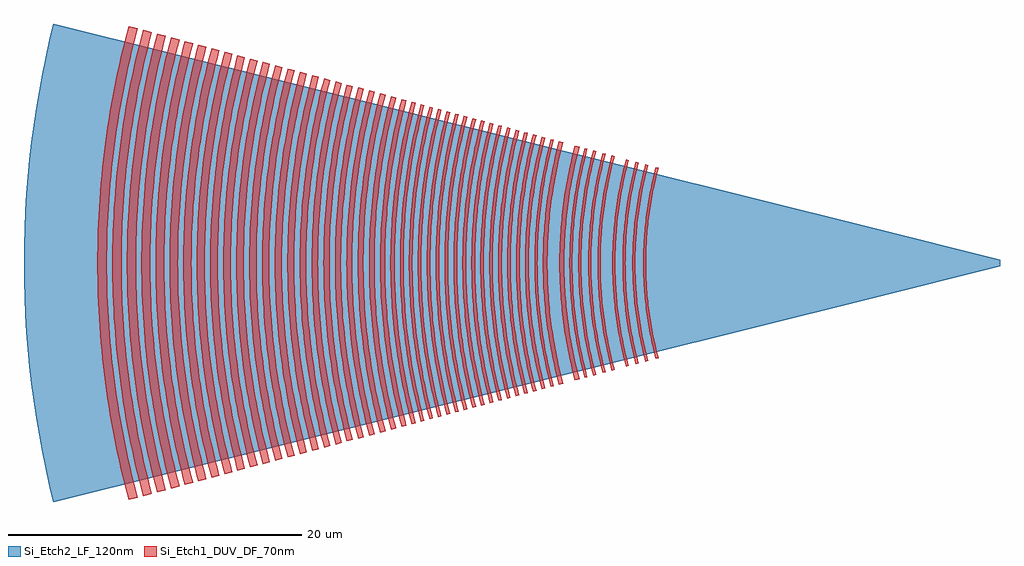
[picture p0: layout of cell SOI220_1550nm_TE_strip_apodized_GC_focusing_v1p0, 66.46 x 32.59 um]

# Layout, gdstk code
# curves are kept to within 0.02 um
import gdstk
lib = gdstk.Library(unit=1e-6, precision=1e-09)
def P(c, l, *ps):  # polygons
    for p in ps: c.add(gdstk.Polygon(p, *l))
Si_Etch2_LF_120nm = (3, 0)
Si_Etch1_DUV_DF_70nm = (6, 0)

soi220_1550nm_te_strip_a = lib.new_cell('SOI220_1550nm_TE_strip_apodized_GC_focusing_v1p0')
P(soi220_1550nm_te_strip_a, Si_Etch2_LF_120nm, [(-64.455,-16.295),(-64.984,-14.005),(-65.433,-11.697),(-65.627,-10.537),(-65.954,-8.209),(-66.2,-5.871),(-66.364,-3.525),(-66.446,-1.176),(-66.456,0),(-66.446,1.176),(-66.364,3.525),(-66.2,5.871),(-65.954,8.209),(-65.627,10.537),(-65.433,11.697),(-64.984,14.005),(-64.455,16.295),(0,0.225),(0,-0.225)])
P(soi220_1550nm_te_strip_a, Si_Etch1_DUV_DF_70nm, [(-23.439,-6.522),(-23.835,-4.808),(-24.111,-3.071),(-24.251,-1.538),(-24.298,0),(-24.251,1.538),(-24.111,3.071),(-23.835,4.808),(-23.439,6.522),(-23.246,6.47),(-23.639,4.77),(-23.884,3.263),(-24.037,1.744),(-24.098,0),(-24.037,-1.744),(-23.884,-3.263),(-23.639,-4.77),(-23.246,-6.47)],
  [(-24.145,-6.711),(-24.508,-5.17),(-24.807,-3.385),(-24.981,-1.583),(-25.029,0),(-24.981,1.583),(-24.807,3.385),(-24.508,5.17),(-24.145,6.711),(-23.952,6.66),(-24.356,4.91),(-24.609,3.359),(-24.781,1.571),(-24.829,0),(-24.781,-1.571),(-24.609,-3.359),(-24.356,-4.91),(-23.952,-6.66)],
  [(-24.793,-6.884),(-25.166,-5.304),(-25.472,-3.472),(-25.636,-1.856),(-25.7,0),(-25.636,1.856),(-25.472,3.472),(-25.166,5.304),(-24.793,6.884),(-24.6,6.833),(-25.015,5.038),(-25.274,3.446),(-25.436,1.842),(-25.5,0),(-25.436,-1.842),(-25.274,-3.446),(-25.015,-5.038),(-24.6,-6.833)],
  [(-25.465,-7.064),(-25.847,-5.442),(-26.161,-3.563),(-26.329,-1.904),(-26.395,0),(-26.329,1.904),(-26.161,3.563),(-25.847,5.442),(-25.465,7.064),(-25.272,7.013),(-25.651,5.402),(-25.963,3.537),(-26.129,1.89),(-26.195,0),(-26.129,-1.89),(-25.963,-3.537),(-25.651,-5.402),(-25.272,-7.013)],
  [(-26.431,-7.323),(-26.827,-5.642),(-27.153,-3.693),(-27.343,-1.727),(-27.395,0),(-27.343,1.727),(-27.153,3.693),(-26.827,5.642),(-26.431,7.323),(-26.238,7.272),(-26.679,5.361),(-26.955,3.667),(-27.127,1.96),(-27.195,0),(-27.127,-1.96),(-26.955,-3.667),(-26.679,-5.361),(-26.238,-7.272)],
  [(-27.047,-7.488),(-27.452,-5.769),(-27.785,-3.777),(-27.963,-2.018),(-28.033,0),(-27.963,2.018),(-27.785,3.777),(-27.452,5.769),(-27.047,7.488),(-26.854,7.437),(-27.305,5.483),(-27.587,3.751),(-27.763,2.004),(-27.833,0),(-27.763,-2.004),(-27.587,-3.751),(-27.305,-5.483),(-26.854,-7.437)],
  [(-27.7,-7.663),(-28.115,-5.904),(-28.455,-3.865),(-28.637,-2.066),(-28.709,0),(-28.637,2.066),(-28.455,3.865),(-28.115,5.904),(-27.7,7.663),(-27.507,7.612),(-27.919,5.864),(-28.257,3.839),(-28.454,1.795),(-28.509,0),(-28.454,-1.795),(-28.257,-3.839),(-27.919,-5.864),(-27.507,-7.612)],
  [(-28.285,-7.82),(-28.76,-5.766),(-29.056,-3.944),(-29.242,-2.108),(-29.315,0),(-29.242,2.108),(-29.056,3.944),(-28.76,5.766),(-28.285,7.82),(-28.092,7.769),(-28.564,5.728),(-28.858,3.918),(-29.042,2.094),(-29.115,0),(-29.042,-2.094),(-28.858,-3.918),(-28.564,-5.728),(-28.092,-7.769)],
  [(-28.947,-7.996),(-29.379,-6.161),(-29.7,-4.3),(-29.925,-2.155),(-30,0),(-29.925,2.155),(-29.7,4.3),(-29.379,6.161),(-28.947,7.996),(-28.623,7.911),(-29.051,6.094),(-29.403,3.99),(-29.591,2.132),(-29.665,0),(-29.591,-2.132),(-29.403,-3.99),(-29.051,-6.094),(-28.623,-7.911)],
  [(-30.036,-8.289),(-30.484,-6.385),(-30.853,-4.181),(-31.049,-2.234),(-31.108,-1.118),(-31.127,0),(-31.108,1.118),(-31.049,2.234),(-30.853,4.181),(-30.484,6.385),(-30.036,8.289),(-29.734,8.209),(-30.232,6.052),(-30.544,4.14),(-30.738,2.212),(-30.815,0),(-30.738,-2.212),(-30.544,-4.14),(-30.232,-6.052),(-29.734,-8.209)],
  [(-30.581,-8.435),(-31.038,-6.498),(-31.245,-5.38),(-31.413,-4.254),(-31.632,-1.99),(-31.692,0),(-31.632,1.99),(-31.413,4.254),(-31.245,5.38),(-31.038,6.498),(-30.581,8.435),(-30.388,8.384),(-30.842,6.458),(-31.048,5.347),(-31.215,4.228),(-31.432,1.978),(-31.492,0),(-31.432,-1.978),(-31.215,-4.228),(-31.048,-5.347),(-30.842,-6.458),(-30.388,-8.384)],
  [(-31.206,-8.602),(-31.671,-6.627),(-31.883,-5.486),(-32.054,-4.339),(-32.185,-3.186),(-32.276,-2.029),(-32.338,0),(-32.276,2.029),(-32.185,3.186),(-32.054,4.339),(-31.883,5.486),(-31.671,6.627),(-31.206,8.602),(-30.96,8.537),(-31.422,6.576),(-31.632,5.444),(-31.802,4.306),(-32.004,2.301),(-32.064,1.151),(-32.084,0),(-32.064,-1.151),(-32.004,-2.301),(-31.802,-4.306),(-31.632,-5.444),(-31.422,-6.576),(-30.96,-8.537)],
  [(-31.796,-8.761),(-32.082,-7.614),(-32.327,-6.459),(-32.66,-4.418),(-32.793,-3.244),(-32.886,-2.067),(-32.949,0),(-32.886,2.067),(-32.793,3.244),(-32.66,4.418),(-32.327,6.459),(-32.082,7.614),(-31.796,8.761),(-31.558,8.698),(-31.842,7.559),(-32.086,6.412),(-32.416,4.386),(-32.621,2.344),(-32.683,1.173),(-32.703,0),(-32.683,-1.173),(-32.621,-2.344),(-32.416,-4.386),(-32.086,-6.412),(-31.842,-7.559),(-31.558,-8.698)],
  [(-32.378,-8.917),(-32.669,-7.75),(-32.919,-6.574),(-33.257,-4.497),(-33.393,-3.302),(-33.488,-2.103),(-33.552,0),(-33.488,2.103),(-33.393,3.302),(-33.257,4.497),(-32.919,6.574),(-32.669,7.75),(-32.378,8.917),(-32.155,8.858),(-32.634,6.823),(-32.852,5.648),(-33.028,4.467),(-33.238,2.387),(-33.3,1.194),(-33.321,0),(-33.3,-1.194),(-33.238,-2.387),(-33.028,-4.467),(-32.852,-5.648),(-32.634,-6.823),(-32.155,-8.858)],
  [(-32.975,-9.077),(-33.466,-6.992),(-33.689,-5.788),(-33.87,-4.578),(-34.009,-3.362),(-34.105,-2.141),(-34.17,0),(-34.105,2.141),(-34.009,3.362),(-33.87,4.578),(-33.689,5.788),(-33.466,6.992),(-32.975,9.077),(-32.733,9.013),(-33.221,6.942),(-33.442,5.747),(-33.622,4.545),(-33.76,3.338),(-33.855,2.126),(-33.92,0),(-33.855,-2.126),(-33.76,-3.338),(-33.622,-4.545),(-33.442,-5.747),(-33.221,-6.942),(-32.733,-9.013)],
  [(-33.555,-9.232),(-33.856,-8.025),(-34.115,-6.806),(-34.465,-4.657),(-34.606,-3.419),(-34.704,-2.178),(-34.77,0),(-34.704,2.178),(-34.606,3.419),(-34.465,4.657),(-34.115,6.806),(-33.856,8.025),(-33.555,9.232),(-33.336,9.174),(-33.636,7.974),(-33.893,6.763),(-34.241,4.627),(-34.458,2.473),(-34.522,1.237),(-34.544,0),(-34.522,-1.237),(-34.458,-2.473),(-34.241,-4.627),(-33.893,-6.763),(-33.636,-7.974),(-33.336,-9.174)],
  [(-34.143,-9.389),(-34.449,-8.161),(-34.713,-6.923),(-35.069,-4.735),(-35.212,-3.477),(-35.312,-2.215),(-35.379,0),(-35.312,2.215),(-35.212,3.477),(-35.069,4.735),(-34.713,6.923),(-34.449,8.161),(-34.143,9.389),(-33.92,9.33),(-34.224,8.109),(-34.486,6.879),(-34.84,4.705),(-34.982,3.455),(-35.081,2.201),(-35.148,0),(-35.081,-2.201),(-34.982,-3.455),(-34.84,-4.705),(-34.486,-6.879),(-34.224,-8.109),(-33.92,-9.33)],
  [(-34.733,-9.548),(-35.045,-8.299),(-35.313,-7.04),(-35.674,-4.815),(-35.82,-3.536),(-35.922,-2.252),(-35.99,0),(-35.922,2.252),(-35.82,3.536),(-35.674,4.815),(-35.313,7.04),(-35.045,8.299),(-34.733,9.548),(-34.496,9.485),(-34.806,8.244),(-35.072,6.993),(-35.431,4.783),(-35.576,3.512),(-35.677,2.237),(-35.745,0),(-35.677,-2.237),(-35.576,-3.512),(-35.431,-4.783),(-35.072,-6.993),(-34.806,-8.244),(-34.496,-9.485)],
  [(-35.324,-9.706),(-35.849,-7.477),(-36.088,-6.189),(-36.281,-4.895),(-36.429,-3.594),(-36.533,-2.29),(-36.602,0),(-36.533,2.29),(-36.429,3.594),(-36.281,4.895),(-36.088,6.189),(-35.849,7.477),(-35.324,9.706),(-35.086,9.643),(-35.608,7.428),(-35.845,6.149),(-36.037,4.863),(-36.184,3.571),(-36.287,2.275),(-36.356,0),(-36.287,-2.275),(-36.184,-3.571),(-36.037,-4.863),(-35.845,-6.149),(-35.608,-7.428),(-35.086,-9.643)],
  [(-35.913,-9.863),(-36.234,-8.574),(-36.511,-7.273),(-36.885,-4.975),(-37.036,-3.653),(-37.14,-2.327),(-37.211,0),(-37.14,2.327),(-37.036,3.653),(-36.885,4.975),(-36.511,7.273),(-36.234,8.574),(-35.913,9.863),(-35.677,9.801),(-36.207,7.55),(-36.448,6.25),(-36.643,4.943),(-36.875,2.642),(-36.944,1.322),(-36.967,0),(-36.944,-1.322),(-36.875,-2.642),(-36.643,-4.943),(-36.448,-6.25),(-36.207,-7.55),(-35.677,-9.801)],
  [(-36.499,-10.02),(-37.041,-7.72),(-37.287,-6.391),(-37.487,-5.054),(-37.64,-3.711),(-37.746,-2.364),(-37.818,0),(-37.746,2.364),(-37.64,3.711),(-37.487,5.054),(-37.287,6.391),(-37.041,7.72),(-36.499,10.02),(-36.267,9.959),(-36.806,7.672),(-37.05,6.351),(-37.249,5.023),(-37.401,3.688),(-37.506,2.349),(-37.578,0),(-37.506,-2.349),(-37.401,-3.688),(-37.249,-5.023),(-37.05,-6.351),(-36.806,-7.672),(-36.267,-9.959)],
  [(-37.081,-10.176),(-37.413,-8.846),(-37.699,-7.503),(-38.085,-5.133),(-38.24,-3.768),(-38.348,-2.4),(-38.421,0),(-38.348,2.4),(-38.24,3.768),(-38.085,5.133),(-37.699,7.503),(-37.413,8.846),(-37.081,10.176),(-36.853,10.116),(-37.183,8.793),(-37.467,7.458),(-37.851,5.102),(-38.09,2.727),(-38.161,1.364),(-38.185,0),(-38.161,-1.364),(-38.09,-2.727),(-37.851,-5.102),(-37.467,-7.458),(-37.183,-8.793),(-36.853,-10.116)],
  [(-37.668,-10.334),(-38.006,-8.983),(-38.296,-7.619),(-38.687,-5.212),(-38.845,-3.827),(-38.955,-2.438),(-39.029,0),(-38.955,2.438),(-38.845,3.827),(-38.687,5.212),(-38.296,7.619),(-38.006,8.983),(-37.668,10.334),(-37.438,10.273),(-37.774,8.929),(-38.062,7.574),(-38.451,5.181),(-38.608,3.804),(-38.717,2.423),(-38.791,0),(-38.717,-2.423),(-38.608,-3.804),(-38.451,-5.181),(-38.062,-7.574),(-37.774,-8.929),(-37.438,-10.273)],
  [(-38.255,-10.492),(-38.823,-8.082),(-39.081,-6.691),(-39.29,-5.292),(-39.45,-3.886),(-39.562,-2.475),(-39.637,0),(-39.562,2.475),(-39.45,3.886),(-39.29,5.292),(-39.081,6.691),(-38.823,8.082),(-38.255,10.492),(-38.037,10.434),(-38.378,9.068),(-38.736,7.346),(-38.968,5.959),(-39.152,4.564),(-39.356,2.11),(-39.411,0),(-39.356,-2.11),(-39.152,-4.564),(-38.968,-5.959),(-38.736,-7.346),(-38.378,-9.068),(-38.037,-10.434)],
  [(-38.844,-10.649),(-39.42,-8.204),(-39.682,-6.791),(-39.894,-5.371),(-40.057,-3.944),(-40.17,-2.512),(-40.246,0),(-40.17,2.512),(-40.057,3.944),(-39.894,5.371),(-39.682,6.791),(-39.42,8.204),(-38.844,10.649),(-38.612,10.588),(-38.958,9.202),(-39.321,7.455),(-39.557,6.047),(-39.782,4.276),(-39.95,2.141),(-40.006,0),(-39.95,-2.141),(-39.782,-4.276),(-39.557,-6.047),(-39.321,-7.455),(-38.958,-9.202),(-38.612,-10.588)],
  [(-39.425,-10.805),(-40.01,-8.323),(-40.276,-6.891),(-40.491,-5.45),(-40.656,-4.002),(-40.771,-2.548),(-40.848,0),(-40.771,2.548),(-40.656,4.002),(-40.491,5.45),(-40.276,6.891),(-40.01,8.323),(-39.425,10.805),(-39.196,10.744),(-39.627,8.985),(-39.916,7.565),(-40.155,6.136),(-40.384,4.339),(-40.554,2.173),(-40.611,0),(-40.554,-2.173),(-40.384,-4.339),(-40.155,-6.136),(-39.916,-7.565),(-39.627,-8.985),(-39.196,-10.744)],
  [(-40.059,-10.974),(-40.418,-9.54),(-40.653,-8.454),(-40.922,-6.999),(-41.142,-5.535),(-41.4,-2.958),(-41.478,-1.48),(-41.504,0),(-41.478,1.48),(-41.4,2.958),(-41.142,5.535),(-40.922,6.999),(-40.653,8.454),(-40.418,9.54),(-40.059,10.974),(-39.778,10.9),(-40.368,8.396),(-40.635,6.951),(-40.853,5.497),(-41.11,2.938),(-41.187,1.47),(-41.213,0),(-41.187,-1.47),(-41.11,-2.938),(-40.853,-5.497),(-40.635,-6.951),(-40.368,-8.396),(-39.778,-10.9)],
  [(-40.739,-11.156),(-41.102,-9.697),(-41.415,-8.226),(-41.838,-5.627),(-42.102,-3.008),(-42.181,-1.505),(-42.207,0),(-42.181,1.505),(-42.102,3.008),(-41.838,5.627),(-41.415,8.226),(-41.102,9.697),(-40.739,11.156),(-40.412,11.07),(-40.773,9.621),(-41.083,8.161),(-41.503,5.583),(-41.765,2.984),(-41.843,1.493),(-41.869,0),(-41.843,-1.493),(-41.765,-2.984),(-41.503,-5.583),(-41.083,-8.161),(-40.773,-9.621),(-40.412,-11.07)],
  [(-41.465,-11.351),(-42.079,-8.745),(-42.358,-7.239),(-42.584,-5.725),(-42.719,-4.585),(-42.852,-3.06),(-42.933,-1.531),(-42.959,0),(-42.933,1.531),(-42.852,3.06),(-42.719,4.585),(-42.584,5.725),(-42.358,7.239),(-42.079,8.745),(-41.465,11.351),(-41.107,11.256),(-41.716,8.671),(-41.993,7.178),(-42.217,5.677),(-42.389,4.168),(-42.508,2.655),(-42.563,1.518),(-42.589,0),(-42.563,-1.518),(-42.508,-2.655),(-42.389,-4.168),(-42.217,-5.677),(-41.993,-7.178),(-41.716,-8.671),(-41.107,-11.256)],
  [(-42.203,-11.549),(-42.491,-10.417),(-42.828,-8.897),(-43.112,-7.365),(-43.342,-5.825),(-43.48,-4.664),(-43.615,-3.113),(-43.697,-1.557),(-43.724,0),(-43.697,1.557),(-43.615,3.113),(-43.48,4.664),(-43.342,5.825),(-43.112,7.365),(-42.828,8.897),(-42.491,10.417),(-42.203,11.549),(-41.838,11.452),(-42.212,9.954),(-42.458,8.822),(-42.739,7.303),(-42.967,5.776),(-43.104,4.625),(-43.238,3.087),(-43.319,1.544),(-43.346,0),(-43.319,-1.544),(-43.238,-3.087),(-43.104,-4.625),(-42.967,-5.776),(-42.739,-7.303),(-42.458,-8.822),(-42.212,-9.954),(-41.838,-11.452)],
  [(-42.95,-11.748),(-43.333,-10.213),(-43.663,-8.662),(-43.875,-7.493),(-44.109,-5.926),(-44.288,-4.352),(-44.412,-2.772),(-44.47,-1.585),(-44.497,0),(-44.47,1.585),(-44.412,2.772),(-44.288,4.352),(-44.109,5.926),(-43.875,7.493),(-43.663,8.662),(-43.333,10.213),(-42.95,11.748),(-42.574,11.649),(-42.954,10.125),(-43.281,8.588),(-43.491,7.429),(-43.723,5.875),(-43.901,4.314),(-44.024,2.748),(-44.081,1.571),(-44.108,0),(-44.081,-1.571),(-44.024,-2.748),(-43.901,-4.314),(-43.723,-5.875),(-43.491,-7.429),(-43.281,-8.588),(-42.954,-10.125),(-42.574,-11.649)],
  [(-43.703,-11.95),(-44.093,-10.388),(-44.428,-8.811),(-44.643,-7.621),(-44.881,-6.027),(-45.063,-4.426),(-45.19,-2.819),(-45.248,-1.612),(-45.276,0),(-45.248,1.612),(-45.19,2.819),(-45.063,4.426),(-44.881,6.027),(-44.643,7.621),(-44.428,8.811),(-44.093,10.388),(-43.703,11.95),(-43.317,11.848),(-43.704,10.298),(-44.036,8.735),(-44.249,7.556),(-44.485,5.975),(-44.666,4.388),(-44.792,2.795),(-44.849,1.598),(-44.877,0),(-44.849,-1.598),(-44.792,-2.795),(-44.666,-4.388),(-44.485,-5.975),(-44.249,-7.556),(-44.036,-8.735),(-43.704,-10.298),(-43.317,-11.848)],
  [(-44.464,-12.153),(-44.86,-10.564),(-45.2,-8.961),(-45.485,-7.347),(-45.661,-6.131),(-45.806,-4.909),(-45.949,-3.276),(-46.035,-1.639),(-46.063,0),(-46.035,1.639),(-45.949,3.276),(-45.806,4.909),(-45.661,6.131),(-45.485,7.347),(-45.2,8.961),(-44.86,10.564),(-44.464,12.153),(-44.066,12.049),(-44.459,10.472),(-44.797,8.883),(-45.014,7.684),(-45.254,6.077),(-45.438,4.462),(-45.539,3.247),(-45.624,1.625),(-45.652,0),(-45.624,-1.625),(-45.539,-3.247),(-45.438,-4.462),(-45.254,-6.077),(-45.014,-7.684),(-44.797,-8.883),(-44.459,-10.472),(-44.066,-12.049)],
  [(-45.235,-12.36),(-45.638,-10.744),(-45.904,-9.522),(-46.207,-7.883),(-46.453,-6.234),(-46.601,-4.992),(-46.746,-3.332),(-46.833,-1.667),(-46.862,0),(-46.833,1.667),(-46.746,3.332),(-46.601,4.992),(-46.453,6.234),(-46.207,7.883),(-45.904,9.522),(-45.638,10.744),(-45.235,12.36),(-44.825,12.252),(-45.225,10.649),(-45.488,9.438),(-45.789,7.813),(-46.033,6.179),(-46.179,4.948),(-46.323,3.302),(-46.409,1.652),(-46.438,0),(-46.409,-1.652),(-46.323,-3.302),(-46.179,-4.948),(-46.033,-6.179),(-45.789,-7.813),(-45.488,-9.438),(-45.225,-10.649),(-44.825,-12.252)],
  [(-46.023,-12.571),(-46.433,-10.928),(-46.786,-9.269),(-47.08,-7.6),(-47.262,-6.34),(-47.412,-5.078),(-47.56,-3.388),(-47.649,-1.696),(-47.678,0),(-47.649,1.696),(-47.56,3.388),(-47.412,5.078),(-47.262,6.34),(-47.08,7.6),(-46.786,9.269),(-46.433,10.928),(-46.023,12.571),(-45.597,12.459),(-46.003,10.829),(-46.353,9.185),(-46.577,7.945),(-46.825,6.283),(-46.973,5.032),(-47.12,3.358),(-47.208,1.68),(-47.237,0),(-47.208,-1.68),(-47.12,-3.358),(-46.973,-5.032),(-46.825,-6.283),(-46.577,-7.945),(-46.353,-9.185),(-46.003,-10.829),(-45.597,-12.459)],
  [(-46.834,-12.788),(-47.25,-11.117),(-47.525,-9.852),(-47.84,-8.157),(-48.094,-6.451),(-48.29,-4.737),(-48.397,-3.447),(-48.487,-1.725),(-48.517,0),(-48.487,1.725),(-48.397,3.447),(-48.29,4.737),(-48.094,6.451),(-47.84,8.157),(-47.525,9.852),(-47.25,11.117),(-46.834,12.788),(-46.391,12.672),(-46.804,11.014),(-47.076,9.761),(-47.388,8.081),(-47.64,6.391),(-47.834,4.693),(-47.968,2.989),(-48.029,1.709),(-48.059,0),(-48.042,-1.282),(-47.968,-2.989),(-47.834,-4.693),(-47.64,-6.391),(-47.388,-8.081),(-47.076,-9.761),(-46.804,-11.014),(-46.391,-12.672)],
  [(-47.661,-13.011),(-48.086,-11.309),(-48.365,-10.023),(-48.684,-8.298),(-48.944,-6.563),(-49.143,-4.818),(-49.252,-3.507),(-49.344,-1.754),(-49.374,0),(-49.344,1.754),(-49.252,3.507),(-49.143,4.818),(-48.944,6.563),(-48.684,8.298),(-48.365,10.023),(-48.086,11.309),(-47.661,13.011),(-47.204,12.89),(-47.625,11.203),(-47.986,9.503),(-48.288,7.791),(-48.475,6.501),(-48.672,4.773),(-48.78,3.474),(-48.871,1.738),(-48.901,0),(-48.871,-1.738),(-48.78,-3.474),(-48.672,-4.773),(-48.475,-6.501),(-48.288,-7.791),(-47.986,-9.503),(-47.625,-11.203),(-47.204,-12.89)],
  [(-48.5,-13.235),(-48.932,-11.505),(-49.215,-10.196),(-49.54,-8.441),(-49.805,-6.675),(-50.007,-4.903),(-50.118,-3.568),(-50.211,-1.785),(-50.242,0),(-50.211,1.785),(-50.118,3.568),(-50.007,4.903),(-49.805,6.675),(-49.54,8.441),(-49.215,10.196),(-48.932,11.505),(-48.5,13.235),(-48.032,13.112),(-48.46,11.396),(-48.741,10.1),(-49.063,8.361),(-49.325,6.612),(-49.525,4.856),(-49.664,3.093),(-49.741,1.326),(-49.758,0),(-49.741,-1.326),(-49.664,-3.093),(-49.525,-4.856),(-49.325,-6.612),(-49.063,-8.361),(-48.741,-10.1),(-48.46,-11.396),(-48.032,-13.112)],
  [(-49.346,-13.463),(-49.784,-11.703),(-50.074,-10.37),(-50.404,-8.586),(-50.673,-6.789),(-50.879,-4.985),(-51.021,-3.176),(-51.087,-1.815),(-51.118,0),(-51.087,1.815),(-51.021,3.176),(-50.879,4.985),(-50.673,6.789),(-50.404,8.586),(-50.074,10.37),(-49.784,11.703),(-49.346,13.463),(-48.867,13.336),(-49.302,11.591),(-49.589,10.272),(-49.916,8.504),(-50.182,6.725),(-50.386,4.938),(-50.527,3.146),(-50.592,1.798),(-50.623,0),(-50.592,-1.798),(-50.527,-3.146),(-50.386,-4.938),(-50.182,-6.725),(-49.916,-8.504),(-49.589,-10.272),(-49.302,-11.591),(-48.867,-13.336)],
  [(-50.197,-13.689),(-50.643,-11.901),(-51.027,-10.095),(-51.348,-8.276),(-51.547,-6.905),(-51.756,-5.071),(-51.87,-3.69),(-51.967,-1.847),(-51.999,0),(-51.967,1.847),(-51.87,3.69),(-51.756,5.071),(-51.547,6.905),(-51.348,8.276),(-51.027,10.095),(-50.643,11.901),(-50.197,13.689),(-49.709,13.561),(-50.151,11.787),(-50.442,10.446),(-50.775,8.648),(-51.046,6.839),(-51.253,5.022),(-51.396,3.199),(-51.462,1.829),(-51.494,0),(-51.476,-1.372),(-51.396,-3.199),(-51.253,-5.022),(-51.046,-6.839),(-50.775,-8.648),(-50.442,-10.446),(-50.151,-11.787),(-49.709,-13.561)],
  [(-51.055,-13.919),(-51.509,-12.1),(-51.808,-10.724),(-52.149,-8.878),(-52.427,-7.021),(-52.64,-5.155),(-52.787,-3.284),(-52.855,-1.877),(-52.887,0),(-52.855,1.877),(-52.787,3.284),(-52.64,5.155),(-52.427,7.021),(-52.149,8.878),(-51.808,10.724),(-51.509,12.1),(-51.055,13.919),(-50.556,13.788),(-51.006,11.984),(-51.302,10.621),(-51.64,8.793),(-51.915,6.954),(-52.126,5.106),(-52.272,3.252),(-52.339,1.859),(-52.371,0),(-52.339,-1.859),(-52.272,-3.252),(-52.126,-5.106),(-51.915,-6.954),(-51.64,-8.793),(-51.302,-10.621),(-51.006,-11.984),(-50.556,-13.788)],
  [(-51.92,-14.151),(-52.381,-12.301),(-52.684,-10.902),(-53.032,-9.025),(-53.315,-7.138),(-53.531,-5.242),(-53.649,-3.815),(-53.749,-1.908),(-53.782,0),(-53.749,1.908),(-53.649,3.815),(-53.531,5.242),(-53.315,7.138),(-53.032,9.025),(-52.684,10.902),(-52.381,12.301),(-51.92,14.151),(-51.41,14.017),(-51.759,12.643),(-52.168,10.797),(-52.512,8.938),(-52.792,7.069),(-53.006,5.191),(-53.154,3.306),(-53.222,1.89),(-53.255,0),(-53.222,-1.89),(-53.154,-3.306),(-53.006,-5.191),(-52.792,-7.069),(-52.512,-8.938),(-52.168,-10.797),(-51.759,-12.643),(-51.41,-14.017)],
  [(-52.793,-14.386),(-53.262,-12.504),(-53.666,-10.607),(-53.925,-9.175),(-54.211,-7.256),(-54.431,-5.328),(-54.552,-3.878),(-54.653,-1.94),(-54.687,0),(-54.653,1.94),(-54.552,3.878),(-54.431,5.328),(-54.211,7.256),(-53.925,9.175),(-53.666,10.607),(-53.262,12.504),(-52.793,14.386),(-52.271,14.248),(-52.736,12.383),(-53.136,10.504),(-53.392,9.086),(-53.676,7.185),(-53.894,5.276),(-54.013,3.84),(-54.113,1.921),(-54.147,0),(-54.113,-1.921),(-54.013,-3.84),(-53.894,-5.276),(-53.676,-7.185),(-53.392,-9.086),(-53.136,-10.504),(-52.736,-12.383),(-52.271,-14.248)],
  [(-53.682,-14.624),(-54.046,-13.192),(-54.473,-11.266),(-54.832,-9.327),(-55.123,-7.376),(-55.297,-5.907),(-55.47,-3.942),(-55.573,-1.972),(-55.607,0),(-55.573,1.972),(-55.47,3.942),(-55.297,5.907),(-55.123,7.376),(-54.832,9.327),(-54.473,11.266),(-54.046,13.192),(-53.682,14.624),(-53.145,14.482),(-53.618,12.587),(-53.929,11.155),(-54.285,9.235),(-54.573,7.303),(-54.794,5.363),(-54.948,3.416),(-55.033,1.465),(-55.052,0),(-55.033,-1.465),(-54.948,-3.416),(-54.794,-5.363),(-54.573,-7.303),(-54.285,-9.235),(-53.929,-11.155),(-53.618,-12.587),(-53.145,-14.482)],
  [(-54.586,-14.865),(-54.956,-13.41),(-55.39,-11.453),(-55.755,-9.481),(-56.051,-7.498),(-56.278,-5.506),(-56.436,-3.507),(-56.524,-1.504),(-56.543,0),(-56.524,1.504),(-56.436,3.507),(-56.278,5.506),(-56.051,7.498),(-55.755,9.481),(-55.39,11.453),(-54.956,13.41),(-54.586,14.865),(-54.034,14.72),(-54.514,12.794),(-54.927,10.852),(-55.272,8.897),(-55.485,7.424),(-55.71,5.451),(-55.866,3.472),(-55.953,1.489),(-55.972,0),(-55.953,-1.489),(-55.866,-3.472),(-55.71,-5.451),(-55.485,-7.424),(-55.272,-8.897),(-54.927,-10.852),(-54.514,-12.794),(-54.034,-14.72)],
  [(-55.506,-15.112),(-55.998,-13.136),(-56.422,-11.143),(-56.776,-9.135),(-56.995,-7.623),(-57.175,-6.105),(-57.353,-4.074),(-57.46,-2.038),(-57.495,0),(-57.46,2.038),(-57.353,4.074),(-57.175,6.105),(-56.995,7.623),(-56.776,9.135),(-56.422,11.143),(-55.998,13.136),(-55.506,15.112),(-54.938,14.962),(-55.426,13.004),(-55.846,11.031),(-56.115,9.541),(-56.413,7.546),(-56.642,5.541),(-56.767,4.033),(-56.873,2.018),(-56.908,0),(-56.873,-2.018),(-56.767,-4.033),(-56.642,-5.541),(-56.413,-7.546),(-56.115,-9.541),(-55.846,-11.031),(-55.426,-13.004),(-54.938,-14.962)],
  [(-56.441,-15.362),(-56.942,-13.355),(-57.372,-11.328),(-57.733,-9.287),(-57.955,-7.749),(-58.138,-6.205),(-58.319,-4.141),(-58.427,-2.072),(-58.463,0),(-58.427,2.072),(-58.319,4.141),(-58.138,6.205),(-57.955,7.749),(-57.733,9.287),(-57.372,11.328),(-56.942,13.355),(-56.441,15.362),(-55.859,15.209),(-56.355,13.219),(-56.781,11.213),(-57.138,9.193),(-57.358,7.67),(-57.539,6.142),(-57.718,4.099),(-57.825,2.051),(-57.861,0),(-57.825,-2.051),(-57.718,-4.099),(-57.539,-6.142),(-57.358,-7.67),(-57.138,-9.193),(-56.781,-11.213),(-56.355,-13.219),(-55.859,-15.209)],
  [(-57.391,-15.616),(-57.899,-13.575),(-58.338,-11.515),(-58.619,-9.96),(-58.93,-7.876),(-59.168,-5.784),(-59.334,-3.684),(-59.41,-2.107),(-59.446,0),(-59.41,2.107),(-59.334,3.684),(-59.168,5.784),(-58.93,7.876),(-58.619,9.96),(-58.338,11.515),(-57.899,13.575),(-57.391,15.616),(-56.794,15.46),(-57.298,13.437),(-57.732,11.397),(-58.094,9.344),(-58.318,7.796),(-58.554,5.725),(-58.718,3.646),(-58.809,1.564),(-58.829,0),(-58.809,-1.564),(-58.718,-3.646),(-58.554,-5.725),(-58.318,-7.796),(-58.094,-9.344),(-57.732,-11.397),(-57.298,-13.437),(-56.794,-15.46)],
  [(-58.353,-15.875),(-58.871,-13.8),(-59.316,-11.706),(-59.688,-9.597),(-59.919,-8.007),(-60.16,-5.88),(-60.329,-3.745),(-60.406,-2.141),(-60.443,0),(-60.406,2.141),(-60.329,3.745),(-60.16,5.88),(-59.919,8.007),(-59.688,9.597),(-59.316,11.706),(-58.871,13.8),(-58.353,15.875),(-57.742,15.714),(-58.255,13.657),(-58.696,11.585),(-59.064,9.498),(-59.292,7.925),(-59.531,5.819),(-59.698,3.706),(-59.774,2.119),(-59.811,0),(-59.774,-2.119),(-59.698,-3.706),(-59.531,-5.819),(-59.292,-7.925),(-59.064,-9.498),(-58.696,-11.585),(-58.255,-13.657),(-57.742,-15.714)],
  [(-59.332,-16.137),(-59.857,-14.027),(-60.31,-11.899),(-60.601,-10.292),(-60.922,-8.14),(-61.169,-5.977),(-61.34,-3.806),(-61.435,-1.632),(-61.456,0),(-61.435,1.632),(-61.34,3.806),(-61.169,5.977),(-60.922,8.14),(-60.601,10.292),(-60.31,11.899),(-59.857,14.027),(-59.332,16.137),(-58.706,15.972),(-59.104,14.406),(-59.57,12.303),(-59.963,10.185),(-60.281,8.055),(-60.471,6.451),(-60.659,4.305),(-60.771,2.154),(-60.809,0),(-60.771,-2.154),(-60.659,-4.305),(-60.471,-6.451),(-60.281,-8.055),(-59.963,-10.185),(-59.57,-12.303),(-59.104,-14.406),(-58.706,-15.972)])

lib.write_gds('SOI220_1550nm_TE_strip_apodized_GC_focusing_v1p0.gds')
